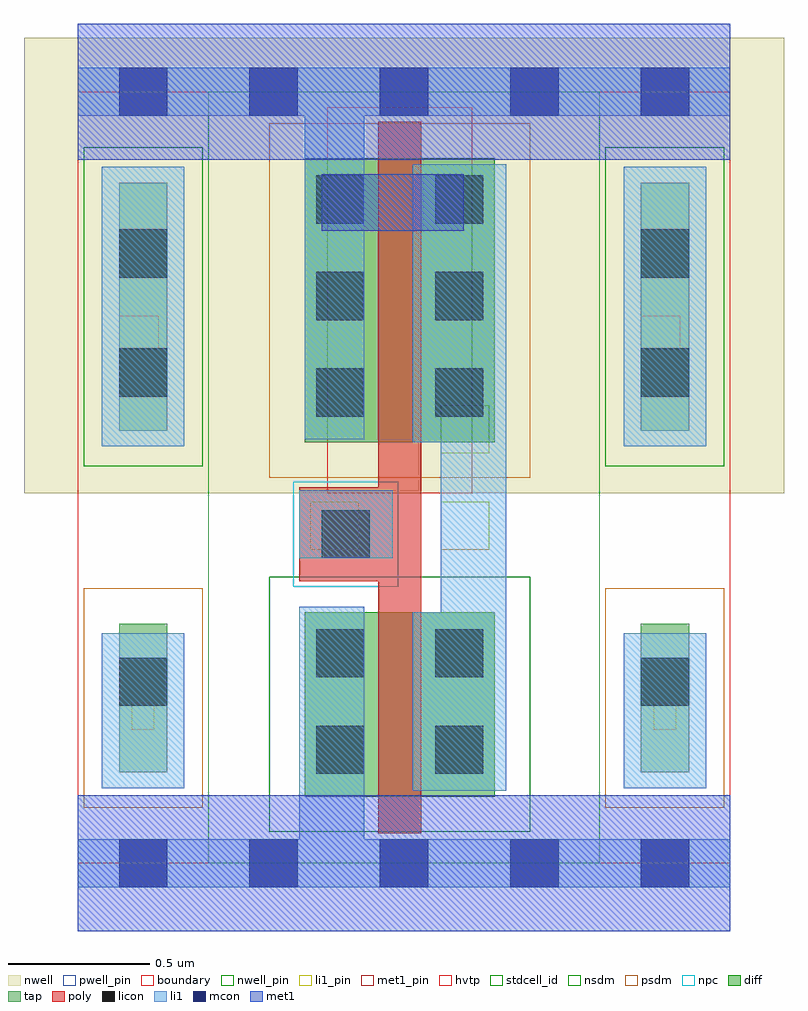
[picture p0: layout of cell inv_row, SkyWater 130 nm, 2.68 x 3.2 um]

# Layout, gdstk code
import gdstk
lib = gdstk.Library(unit=1e-6, precision=1e-09)
def R(c, l, rs):  # rectangles x0, y0, x1, y1
    for r in rs: c.add(gdstk.rectangle(r[:2], r[2:], *l))
def A(c, l, x, y, w, h, nx, ny, dx, dy):  # array of equal rectangles
    R(c, l, [(x+i*dx, y+j*dy, x+i*dx+w, y+j*dy+h) for i in range(nx) for j in range(ny)])
nwell_pin = (64, 16)
nwell = (64, 20)
diff = (65, 20)
tap = (65, 44)
poly = (66, 20)
licon = (66, 44)
li1_pin = (67, 16)
li1 = (67, 20)
mcon = (67, 44)
met1_pin = (68, 16)
met1 = (68, 20)
hvtp = (78, 44)
stdcell_id = (81, 4)
nsdm = (93, 44)
psdm = (94, 20)
npc = (95, 20)
pwell_pin = (122, 16)
boundary = (235, 4)

sky130_fd_sc_hd__tap_1 = lib.new_cell('sky130_fd_sc_hd__tap_1')
R(sky130_fd_sc_hd__tap_1, nwell, [(-0.19,1.305,0.65,2.91)])
R(sky130_fd_sc_hd__tap_1, tap, [(0.145,0.32,0.315,0.845), (0.145,1.525,0.315,2.4)])
R(sky130_fd_sc_hd__tap_1, licon, [(0.145,0.555,0.315,0.725), (0.145,1.645,0.315,1.815), (0.145,2.065,0.315,2.235)])
R(sky130_fd_sc_hd__tap_1, li1_pin, [(0.19,0.47,0.27,0.565), (0.145,1.81,0.285,1.93)])
R(sky130_fd_sc_hd__tap_1, li1, [(0,-0.085,0.46,0.085), (0.085,0.265,0.375,0.81), (0.085,1.47,0.375,2.455), (0,2.635,0.46,2.805)])
R(sky130_fd_sc_hd__tap_1, mcon, [(0.145,-0.085,0.315,0.085), (0.145,2.635,0.315,2.805)])
R(sky130_fd_sc_hd__tap_1, met1_pin, [(0,-0.24,0.46,0.24), (0.14,-0.05,0.34,0.07), (0,2.48,0.46,2.96), (0.13,2.675,0.345,2.775)])
R(sky130_fd_sc_hd__tap_1, met1, [(0,-0.24,0.46,0.24), (0,2.48,0.46,2.96)])
R(sky130_fd_sc_hd__tap_1, nsdm, [(0.02,1.4,0.44,2.525)])
R(sky130_fd_sc_hd__tap_1, psdm, [(0.02,0.195,0.44,0.97)])
R(sky130_fd_sc_hd__tap_1, boundary, [(0,0,0.46,2.72)])
sky130_fd_sc_hd__tap_1.add(gdstk.Label('VGND', (0.23,0), layer=68, texttype=5))
sky130_fd_sc_hd__tap_1.add(gdstk.Label('VGND', (0.24,0.01), layer=68, texttype=5))
sky130_fd_sc_hd__tap_1.add(gdstk.Label('VNB', (0.23,0.517), layer=67, texttype=5))
sky130_fd_sc_hd__tap_1.add(gdstk.Label('VPB', (0.215,1.87), layer=67, texttype=5))
sky130_fd_sc_hd__tap_1.add(gdstk.Label('VPWR', (0.23,2.72), layer=68, texttype=5))
sky130_fd_sc_hd__tap_1.add(gdstk.Label('VPWR', (0.237,2.725), layer=68, texttype=5))

sky130_fd_sc_hd__inv_1 = lib.new_cell('sky130_fd_sc_hd__inv_1')
R(sky130_fd_sc_hd__inv_1, nwell_pin, [(0.145,2.635,0.315,2.805)])
R(sky130_fd_sc_hd__inv_1, nwell, [(-0.19,1.305,1.57,2.91)])
R(sky130_fd_sc_hd__inv_1, diff, [(0.34,0.235,1.01,0.885), (0.34,1.485,1.01,2.485)])
R(sky130_fd_sc_hd__inv_1, poly, [(0.6,0.105,0.75,0.995), (0.32,0.995,0.75,1.325), (0.6,1.325,0.75,2.615)])
A(sky130_fd_sc_hd__inv_1, licon, 0.38, 1.575, 0.17, 0.17, 1, 3, 0, 0.34)
A(sky130_fd_sc_hd__inv_1, licon, 0.8, 1.575, 0.17, 0.17, 1, 3, 0, 0.34)
R(sky130_fd_sc_hd__inv_1, licon, [(0.38,0.315,0.55,0.485), (0.8,0.315,0.97,0.485), (0.38,0.655,0.55,0.825), (0.8,0.655,0.97,0.825), (0.4,1.075,0.57,1.245)])
R(sky130_fd_sc_hd__inv_1, li1_pin, [(0.36,1.105,0.53,1.275), (0.82,1.105,0.99,1.275), (0.82,1.445,0.99,1.615)])
R(sky130_fd_sc_hd__inv_1, li1, [(0,-0.085,1.38,0.085), (0.32,0.085,0.55,0.905), (0.72,0.255,1.05,0.885), (0.82,0.885,1.05,1.485), (0.32,1.075,0.65,1.315), (0.72,1.485,1.05,2.465), (0.34,1.495,0.55,2.635), (0,2.635,1.38,2.805)])
A(sky130_fd_sc_hd__inv_1, mcon, 0.145, -0.085, 0.17, 0.17, 3, 2, 0.46, 2.72)
R(sky130_fd_sc_hd__inv_1, met1_pin, [(0,-0.24,1.38,0.24), (0.145,-0.085,0.315,0.085), (0,2.48,1.38,2.96), (0.145,2.635,0.315,2.805)])
R(sky130_fd_sc_hd__inv_1, met1, [(0,-0.24,1.38,0.24), (0,2.48,1.38,2.96)])
R(sky130_fd_sc_hd__inv_1, hvtp, [(0.42,1.305,0.93,2.665)])
R(sky130_fd_sc_hd__inv_1, stdcell_id, [(0,0,1.38,2.72)])
R(sky130_fd_sc_hd__inv_1, nsdm, [(0.215,0.11,1.135,1.01)])
R(sky130_fd_sc_hd__inv_1, psdm, [(0.215,1.36,1.135,2.61)])
R(sky130_fd_sc_hd__inv_1, npc, [(0.3,0.975,0.67,1.345)])
R(sky130_fd_sc_hd__inv_1, pwell_pin, [(0.145,-0.085,0.315,0.085)])
R(sky130_fd_sc_hd__inv_1, boundary, [(0,0,1.38,2.72)])
sky130_fd_sc_hd__inv_1.add(gdstk.Label('A', (0.445,1.19), layer=67, texttype=5))
sky130_fd_sc_hd__inv_1.add(gdstk.Label('VGND', (0.69,0), layer=68, texttype=5))
sky130_fd_sc_hd__inv_1.add(gdstk.Label('VGND', (0.23,0), layer=68, texttype=5))
sky130_fd_sc_hd__inv_1.add(gdstk.Label('VNB', (0.23,0), layer=64, texttype=59))
sky130_fd_sc_hd__inv_1.add(gdstk.Label('VPB', (0.23,2.72), layer=64, texttype=5))
sky130_fd_sc_hd__inv_1.add(gdstk.Label('VPWR', (0.69,2.72), layer=68, texttype=5))
sky130_fd_sc_hd__inv_1.add(gdstk.Label('VPWR', (0.23,2.72), layer=68, texttype=5))
sky130_fd_sc_hd__inv_1.add(gdstk.Label('Y', (0.905,1.19), layer=67, texttype=5))
sky130_fd_sc_hd__inv_1.add(gdstk.Label('Y', (0.905,1.53), layer=67, texttype=5))

inv_row = lib.new_cell('inv_row')
R(inv_row, met1, [(0.86,2.23,1.36,2.43)])
inv_row.add(gdstk.Reference(sky130_fd_sc_hd__tap_1, (1.84,0)))
inv_row.add(gdstk.Reference(sky130_fd_sc_hd__inv_1, (0.46,0)))
inv_row.add(gdstk.Reference(sky130_fd_sc_hd__tap_1, (0,0)))

lib.write_gds('inv_row.gds')
